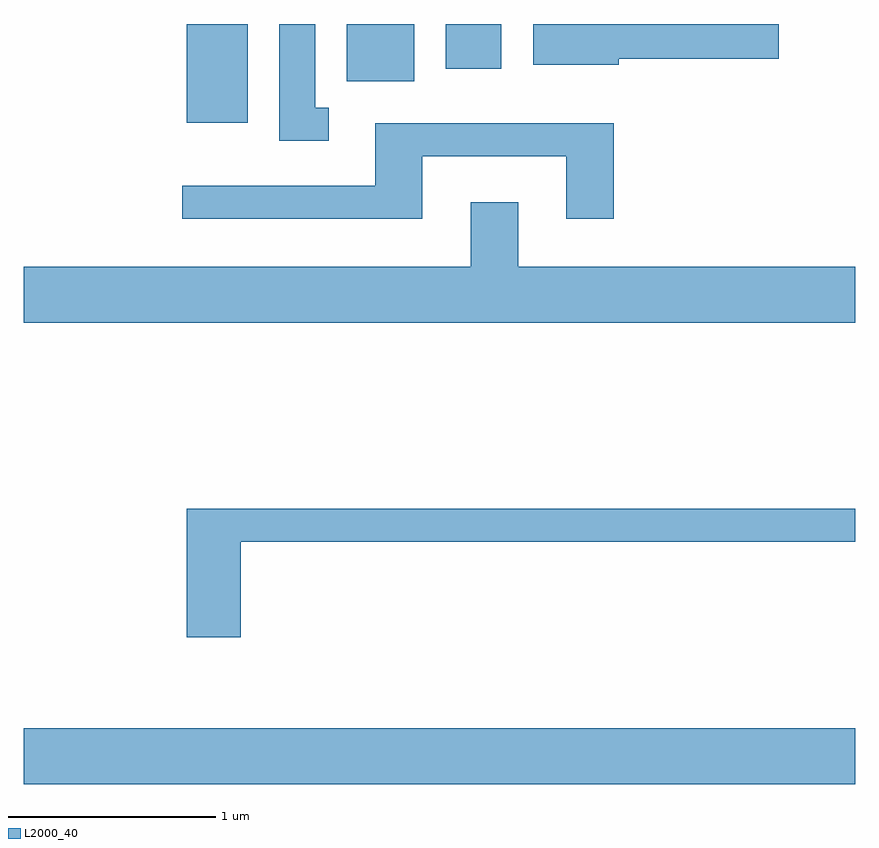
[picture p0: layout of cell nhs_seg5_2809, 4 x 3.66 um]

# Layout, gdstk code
import gdstk
lib = gdstk.Library(unit=1e-6, precision=1e-09)
def R(c, l, rs):  # rectangles x0, y0, x1, y1
    for r in rs: c.add(gdstk.rectangle(r[:2], r[2:], *l))
def P(c, l, *ps):  # polygons
    for p in ps: c.add(gdstk.Polygon(p, *l))
L2000_40 = (2000, 40)

nhs_seg5_2809 = lib.new_cell('nhs_seg5_2809')
R(nhs_seg5_2809, L2000_40, [(269.611,1392.416,273.611,1392.684), (270.396,1395.596,270.689,1396.072), (271.166,1395.796,271.489,1396.072), (271.641,1395.856,271.909,1396.072)])
P(nhs_seg5_2809, L2000_40, [(272.474,1395.906),(273.244,1395.906),(273.244,1396.072),(272.061,1396.072),(272.061,1395.876),(272.474,1395.876)],
  [(271.078,1395.669),(271.014,1395.669),(271.014,1396.072),(270.841,1396.072),(270.841,1395.511),(271.078,1395.511)],
  [(271.529,1395.436),(272.221,1395.436),(272.221,1395.136),(272.449,1395.136),(272.449,1395.594),(271.301,1395.594),(271.301,1395.294),(270.373,1395.294),(270.373,1395.136),(271.529,1395.136)],
  [(273.611,1394.904),(271.989,1394.904),(271.989,1395.214),(271.761,1395.214),(271.761,1394.904),(269.611,1394.904),(269.611,1394.636),(273.611,1394.636)],
  [(270.654,1393.581),(273.611,1393.581),(273.611,1393.739),(270.396,1393.739),(270.396,1393.121),(270.654,1393.121)])

lib.write_gds('nhs_seg5_2809.gds')
